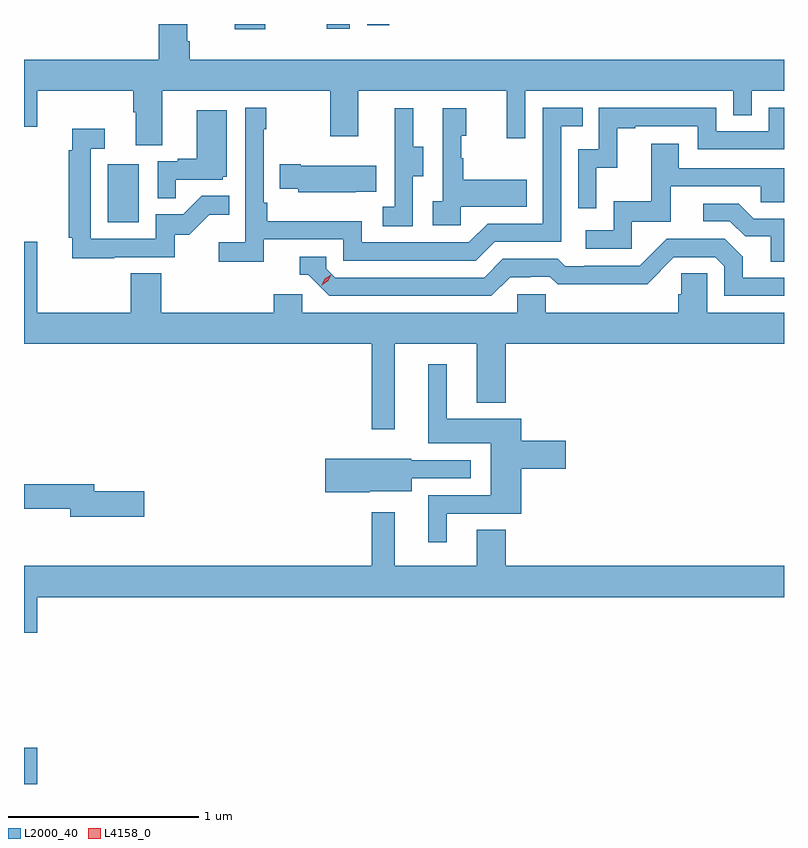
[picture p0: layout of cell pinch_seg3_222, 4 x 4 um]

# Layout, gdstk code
import gdstk
lib = gdstk.Library(unit=1e-6, precision=1e-09)
def R(c, l, rs):  # rectangles x0, y0, x1, y1
    for r in rs: c.add(gdstk.rectangle(r[:2], r[2:], *l))
def P(c, l, *ps):  # polygons
    for p in ps: c.add(gdstk.Polygon(p, *l))
L2000_40 = (2000, 40)
L4158_0 = (4158, 0)

pinch_seg3_222 = lib.new_cell('pinch_seg3_222')
R(pinch_seg3_222, L2000_40, [(932.333,735.896,932.404,736.087), (932.774,738.852,932.938,739.159), (933.443,739.869,933.604,739.896), (933.926,739.872,934.048,739.896), (934.14,739.89,934.256,739.896)])
P(pinch_seg3_222, L2000_40, [(933.061,739.544),(933.946,739.544),(933.946,739.305),(934.093,739.305),(934.093,739.544),(934.874,739.544),(934.874,739.296),(934.971,739.296),(934.971,739.544),(936.066,739.544),(936.066,739.417),(936.162,739.417),(936.162,739.544),(936.333,739.544),(936.333,739.708),(933.206,739.708),(933.206,739.804),(933.193,739.804),(933.193,739.896),(933.041,739.896),(933.041,739.708),(932.333,739.708),(932.333,739.356),(932.404,739.356),(932.404,739.544),(932.909,739.544),(932.909,739.432),(932.921,739.432),(932.921,739.258),(933.061,739.258)],
  [(933.596,738.762),(934.014,738.762),(934.014,738.651),(934.711,738.651),(934.81,738.75),(935.16,738.75),(935.16,739.359),(935.273,739.359),(935.273,739.455),(935.064,739.455),(935.064,738.846),(934.773,738.846),(934.674,738.747),(934.11,738.747),(934.11,738.859),(933.614,738.859),(933.614,738.955),(933.594,738.955),(933.594,739.343),(933.607,739.343),(933.607,739.456),(933.498,739.456),(933.498,738.748),(933.357,738.748),(933.357,738.646),(933.596,738.646)],
  [(935.346,739.139),(935.456,739.139),(935.456,739.347),(935.551,739.347),(935.551,739.359),(935.88,739.359),(935.88,739.236),(936.333,739.236),(936.333,739.455),(936.252,739.455),(936.252,739.332),(935.976,739.332),(935.976,739.455),(935.358,739.455),(935.358,739.236),(935.25,739.236),(935.25,738.927),(935.346,738.927)],
  [(934.38,739.096),(934.435,739.096),(934.435,739.251),(934.381,739.251),(934.381,739.453),(934.283,739.453),(934.283,739.239),(934.284,739.239),(934.284,738.935),(934.221,738.935),(934.221,738.832),(934.38,738.832)],
  [(934.632,738.935),(934.979,738.935),(934.979,739.075),(934.645,739.075),(934.645,739.19),(934.635,739.19),(934.635,739.308),(934.66,739.308),(934.66,739.453),(934.536,739.453),(934.536,738.962),(934.485,738.962),(934.485,738.837),(934.632,738.837)],
  [(933.131,739.077),(933.378,739.077),(933.378,739.092),(933.4,739.092),(933.4,739.441),(933.242,739.441),(933.242,739.186),(933.143,739.186),(933.143,739.173),(933.036,739.173),(933.036,738.979),(933.131,738.979)],
  [(932.807,738.669),(933.126,738.669),(933.126,738.786),(933.202,738.786),(933.309,738.893),(933.413,738.893),(933.413,738.992),(933.269,738.992),(933.171,738.894),(933.027,738.894),(933.027,738.765),(932.685,738.765),(932.685,739.239),(932.758,739.239),(932.758,739.345),(932.588,739.345),(932.588,739.232),(932.569,739.232),(932.569,738.772),(932.588,738.772),(932.588,738.664),(932.807,738.664)],
  [(935.532,738.855),(935.737,738.855),(935.737,739.041),(936.211,739.041),(936.211,738.957),(936.333,738.957),(936.333,739.137),(935.779,739.137),(935.779,739.267),(935.635,739.267),(935.635,738.964),(935.436,738.964),(935.436,738.81),(935.289,738.81),(935.289,738.714),(935.532,738.714)],
  [(934.079,739.013),(934.187,739.013),(934.187,739.15),(933.79,739.15),(933.79,739.158),(933.679,739.158),(933.679,739.028),(933.777,739.028),(933.777,739.01),(934.079,739.01)],
  [(936.333,738.87),(936.175,738.87),(936.094,738.951),(935.907,738.951),(935.907,738.858),(936.048,738.858),(936.128,738.778),(936.263,738.778),(936.263,738.646),(936.333,738.646)],
  [(934.891,738.564),(934.998,738.564),(934.998,738.567),(935.101,738.567),(935.143,738.525),(935.376,738.525),(935.376,738.527),(935.612,738.527),(935.754,738.669),(935.97,738.669),(936.018,738.621),(936.018,738.465),(936.333,738.465),(936.333,738.561),(936.115,738.561),(936.115,738.671),(936.021,738.765),(935.715,738.765),(935.574,738.624),(935.281,738.624),(935.281,738.621),(935.182,738.621),(935.143,738.66),(934.854,738.66),(934.755,738.561),(933.972,738.561),(933.924,738.609),(933.924,738.672),(933.785,738.672),(933.785,738.576),(933.828,738.576),(933.939,738.465),(934.792,738.465)],
  [(934.285,738.212),(934.715,738.212),(934.715,737.903),(934.868,737.903),(934.868,738.212),(936.333,738.212),(936.333,738.376),(935.928,738.376),(935.928,738.584),(935.791,738.584),(935.791,738.474),(935.777,738.474),(935.777,738.376),(935.079,738.376),(935.079,738.474),(934.929,738.474),(934.929,738.376),(933.798,738.376),(933.798,738.474),(933.647,738.474),(933.647,738.376),(933.056,738.376),(933.056,738.584),(932.896,738.584),(932.896,738.376),(932.404,738.376),(932.404,738.751),(932.333,738.751),(932.333,738.212),(934.164,738.212),(934.164,737.763),(934.285,737.763)],
  [(934.558,737.319),(934.949,737.319),(934.949,737.555),(935.185,737.555),(935.185,737.702),(934.949,737.702),(934.949,737.818),(934.558,737.818),(934.558,738.106),(934.46,738.106),(934.46,737.69),(934.79,737.69),(934.79,737.415),(934.46,737.415),(934.46,737.169),(934.558,737.169)],
  [(934.152,737.438),(934.375,737.438),(934.375,737.505),(934.684,737.505),(934.684,737.601),(934.371,737.601),(934.371,737.609),(933.918,737.609),(933.918,737.431),(934.152,737.431)],
  [(932.965,737.438),(932.704,737.438),(932.704,737.474),(932.333,737.474),(932.333,737.346),(932.576,737.346),(932.576,737.303),(932.965,737.303)],
  [(932.404,736.88),(936.333,736.88),(936.333,737.044),(934.868,737.044),(934.868,737.234),(934.715,737.234),(934.715,737.044),(934.285,737.044),(934.285,737.326),(934.164,737.326),(934.164,737.044),(932.333,737.044),(932.333,736.692),(932.404,736.692)])
P(pinch_seg3_222, L4158_0, [(933.901,738.522),(933.901,738.523),(933.917,738.556),(933.949,738.575),(933.949,738.575),(933.949,738.575),(933.932,738.542),(933.901,738.522)])

lib.write_gds('pinch_seg3_222.gds')
